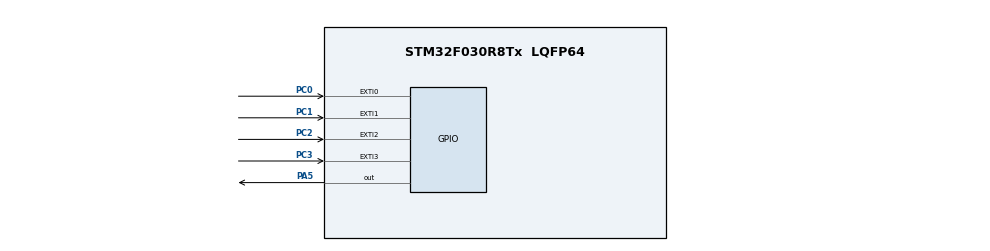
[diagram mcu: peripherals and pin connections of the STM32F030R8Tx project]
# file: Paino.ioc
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Mcu.Family=STM32F0
Mcu.Name=STM32F030R8Tx
Mcu.Package=LQFP64
NVIC.EXTI0_1_IRQn=true\:0\:0\:false\:false\:true
NVIC.EXTI2_3_IRQn=true\:0\:0\:false\:false\:true
PA5.Signal=GPIO_Output
PC0.Signal=GPXTI0
PC1.Signal=GPXTI1
PC2.Signal=GPXTI2
PC3.Signal=GPXTI3
ProjectManager.HeapSize=0x200
ProjectManager.StackSize=0x400
ProjectManager.TargetToolchain=MDK-ARM V5
board=Paino

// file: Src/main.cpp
/**
  ******************************************************************************
  * File Name          : main.c
  * Description        : Main program body
  ******************************************************************************
  *
  * COPYRIGHT(c) 2016 STMicroelectronics
  *
  * Redistribution and use in source and binary forms, with or without modification,
  * are permitted provided that the following conditions are met:
  *   1. Redistributions of source code must retain the above copyright notice,
  *      this list of conditions and the following disclaimer.
  *   2. Redistributions in binary form must reproduce the above copyright notice,
  *      this list of conditions and the following disclaimer in the documentation
  *      and/or other materials provided with the distribution.
  *   3. Neither the name of STMicroelectronics nor the names of its contributors
  *      may be used to endorse or promote products derived from this software
  *      without specific prior written permission.
  *
  * THIS SOFTWARE IS PROVIDED BY THE COPYRIGHT HOLDERS AND CONTRIBUTORS "AS IS"
  * AND ANY EXPRESS OR IMPLIED WARRANTIES, INCLUDING, BUT NOT LIMITED TO, THE
  * IMPLIED WARRANTIES OF MERCHANTABILITY AND FITNESS FOR A PARTICULAR PURPOSE ARE
  * DISCLAIMED. IN NO EVENT SHALL THE COPYRIGHT HOLDER OR CONTRIBUTORS BE LIABLE
  * FOR ANY DIRECT, INDIRECT, INCIDENTAL, SPECIAL, EXEMPLARY, OR CONSEQUENTIAL
  * DAMAGES (INCLUDING, BUT NOT LIMITED TO, PROCUREMENT OF SUBSTITUTE GOODS OR
  * SERVICES; LOSS OF USE, DATA, OR PROFITS; OR BUSINESS INTERRUPTION) HOWEVER
  * CAUSED AND ON ANY THEORY OF LIABILITY, WHETHER IN CONTRACT, STRICT LIABILITY,
  * OR TORT (INCLUDING NEGLIGENCE OR OTHERWISE) ARISING IN ANY WAY OUT OF THE USE
  * OF THIS SOFTWARE, EVEN IF ADVISED OF THE POSSIBILITY OF SUCH DAMAGE.
  *
  ******************************************************************************
  */
#include "stm32f0xx_hal.h"

/* USER CODE BEGIN PV */
/* Private variables ---------------------------------------------------------*/

/* USER CODE END PV */

void SystemClock_Config(void);
void Error_Handler(void);
static void MX_GPIO_Init(void);

/* USER CODE BEGIN PFP */
/* Private function prototypes -----------------------------------------------*/

/* USER CODE END PFP */

/* USER CODE BEGIN 0 */
int nDelay=100;
/* USER CODE END 0 */
int flag=0;
int f=1;
int main(void)
{

  /* MCU Configuration----------------------------------------------------------*/

  /* Reset of all peripherals, Initializes the Flash interface and the Systick. */
  HAL_Init();

  /* Configure the system clock */
  SystemClock_Config();

  /* Initialize all configured peripherals */
  MX_GPIO_Init();

  /* Infinite loop */
  while (1)
  {

		if(flag){
			HAL_GPIO_WritePin(GPIOA,GPIO_PIN_5,GPIO_PIN_SET);
			HAL_Delay(f);
			HAL_GPIO_WritePin(GPIOA,GPIO_PIN_5,GPIO_PIN_RESET);
			HAL_Delay(f);
			switch(f){
				case 4:
					if(HAL_GPIO_ReadPin(GPIOC, GPIO_PIN_0)==GPIO_PIN_RESET) flag=0;
				break;
				case 3:
					if(HAL_GPIO_ReadPin(GPIOC, GPIO_PIN_1)==GPIO_PIN_RESET) flag=0;
				break;
				case 2:
					if(HAL_GPIO_ReadPin(GPIOC, GPIO_PIN_2)==GPIO_PIN_RESET) flag=0;
				break;
				case 1:
					if(HAL_GPIO_ReadPin(GPIOC, GPIO_PIN_3)==GPIO_PIN_RESET) flag=0;
				break;
			}
		}

  }

}

/** System Clock Configuration
*/
void SystemClock_Config(void)
{

  RCC_OscInitTypeDef RCC_OscInitStruct;
  RCC_ClkInitTypeDef RCC_ClkInitStruct;

  RCC_OscInitStruct.OscillatorType = RCC_OSCILLATORTYPE_HSI;
  RCC_OscInitStruct.HSIState = RCC_HSI_ON;
  RCC_OscInitStruct.HSICalibrationValue = 16;
  RCC_OscInitStruct.PLL.PLLState = RCC_PLL_NONE;
  if (HAL_RCC_OscConfig(&RCC_OscInitStruct) != HAL_OK)
  {
    Error_Handler();
  }

  RCC_ClkInitStruct.ClockType = RCC_CLOCKTYPE_HCLK|RCC_CLOCKTYPE_SYSCLK
                              |RCC_CLOCKTYPE_PCLK1;
  RCC_ClkInitStruct.SYSCLKSource = RCC_SYSCLKSOURCE_HSI;
  RCC_ClkInitStruct.AHBCLKDivider = RCC_SYSCLK_DIV1;
  RCC_ClkInitStruct.APB1CLKDivider = RCC_HCLK_DIV1;
  if (HAL_RCC_ClockConfig(&RCC_ClkInitStruct, FLASH_LATENCY_0) != HAL_OK)
  {
    Error_Handler();
  }

  HAL_SYSTICK_Config(HAL_RCC_GetHCLKFreq()/1000);

  HAL_SYSTICK_CLKSourceConfig(SYSTICK_CLKSOURCE_HCLK);

  /* SysTick_IRQn interrupt configuration */
  HAL_NVIC_SetPriority(SysTick_IRQn, 0, 0);
}

/** Configure pins as
        * Analog
        * Input
        * Output
        * EVENT_OUT
        * EXTI
*/
static void MX_GPIO_Init(void)
{

  GPIO_InitTypeDef GPIO_InitStruct;

  /* GPIO Ports Clock Enable */
  __HAL_RCC_GPIOC_CLK_ENABLE();
  __HAL_RCC_GPIOA_CLK_ENABLE();

  /*Configure GPIO pins : PC0 PC1 PC2 PC3 */
  GPIO_InitStruct.Pin = GPIO_PIN_0|GPIO_PIN_1|GPIO_PIN_2|GPIO_PIN_3;
  GPIO_InitStruct.Mode = GPIO_MODE_IT_RISING;
  GPIO_InitStruct.Pull = GPIO_NOPULL;
  HAL_GPIO_Init(GPIOC, &GPIO_InitStruct);

  /*Configure GPIO pin : PA5 */
  GPIO_InitStruct.Pin = GPIO_PIN_5;
  GPIO_InitStruct.Mode = GPIO_MODE_OUTPUT_PP;
  GPIO_InitStruct.Pull = GPIO_NOPULL;
  GPIO_InitStruct.Speed = GPIO_SPEED_FREQ_LOW;
  HAL_GPIO_Init(GPIOA, &GPIO_InitStruct);

  /*Configure GPIO pin Output Level */
  HAL_GPIO_WritePin(GPIOA, GPIO_PIN_5, GPIO_PIN_RESET);

  /* EXTI interrupt init*/
  HAL_NVIC_SetPriority(EXTI0_1_IRQn, 0, 0);
  HAL_NVIC_EnableIRQ(EXTI0_1_IRQn);

  HAL_NVIC_SetPriority(EXTI2_3_IRQn, 0, 0);
  HAL_NVIC_EnableIRQ(EXTI2_3_IRQn);

}

/* USER CODE BEGIN 4 */
void HAL_GPIO_EXTI_Callback(uint16_t GPIO_PIN){
	if(GPIO_PIN==GPIO_PIN_0){
		if(flag){
			flag=0;
		}
		else{
			flag=1;
			f=4;
		}
	}
	else if(GPIO_PIN==GPIO_PIN_1){
		if(flag){
			flag=0;
		}
		else{
			flag=1;
			f=3;
		}
	}
	else if(GPIO_PIN==GPIO_PIN_2){
		if(flag){
			flag=0;
		}
		else{
			flag=1;
			f=2;
		}
	}
	else if(GPIO_PIN==GPIO_PIN_3){
		if(flag){
			flag=0;
		}
		else{
			flag=1;
			f=1;
		}
	}
}
/* USER CODE END 4 */

void Error_Handler(void)
{
  while(1)
  {
  }
}

/************************ (C) COPYRIGHT STMicroelectronics *****END OF FILE****/
